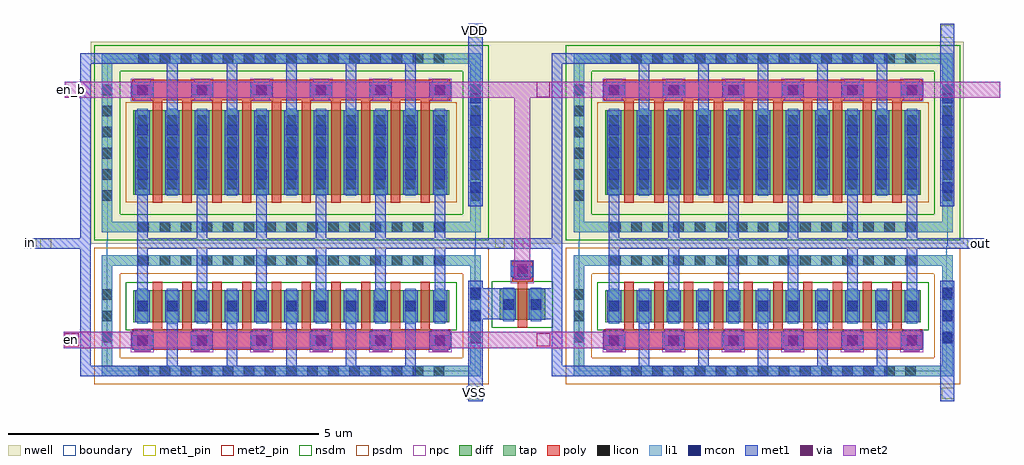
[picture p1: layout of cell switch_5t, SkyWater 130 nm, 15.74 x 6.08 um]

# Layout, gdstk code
from math import pi, radians
import gdstk
lib = gdstk.Library(unit=1e-6, precision=1e-09)
def R(c, l, rs):  # rectangles x0, y0, x1, y1
    for r in rs: c.add(gdstk.rectangle(r[:2], r[2:], *l))
def A(c, l, x, y, w, h, nx, ny, dx, dy):  # array of equal rectangles
    R(c, l, [(x+i*dx, y+j*dy, x+i*dx+w, y+j*dy+h) for i in range(nx) for j in range(ny)])
nwell = (64, 20)
diff = (65, 20)
tap = (65, 44)
poly = (66, 20)
licon = (66, 44)
li1 = (67, 20)
mcon = (67, 44)
met1_pin = (68, 16)
met1 = (68, 20)
via = (68, 44)
met2_pin = (69, 16)
met2 = (69, 20)
nsdm = (93, 44)
psdm = (94, 20)
npc = (95, 20)
boundary = (235, 4)

sky130_fd_pr__pfet_01v8_ = lib.new_cell('sky130_fd_pr__pfet_01v8_UNG2NQ')
R(sky130_fd_pr__pfet_01v8_, nwell, [(-3.23,-1.78,3.24,1.47)])
R(sky130_fd_pr__pfet_01v8_, diff, [(-2.54,-0.68,2.55,0.68)])
R(sky130_fd_pr__pfet_01v8_, tap, [(-3.05,-1.6,3.06,-1.43), (-3.05,-1.43,-2.88,1.12), (2.89,-1.43,3.06,1.12), (-3.05,1.12,3.06,1.29)])
A(sky130_fd_pr__pfet_01v8_, poly, -2.23, -0.84, 0.15, 1.65, 10, 1, 0.48, 0)
R(sky130_fd_pr__pfet_01v8_, poly, [(-2.56,-1.17,2.57,-0.84)])
A(sky130_fd_pr__pfet_01v8_, licon, -2.46, -1.6, 0.17, 0.17, 15, 2, 0.34, 2.72)
A(sky130_fd_pr__pfet_01v8_, licon, -3.05, -1.09, 0.17, 0.17, 1, 6, 0, 0.34)
A(sky130_fd_pr__pfet_01v8_, licon, -2.48, -1.09, 0.17, 0.17, 6, 1, 0.96, 0)
A(sky130_fd_pr__pfet_01v8_, licon, 2.89, -1.09, 0.17, 0.17, 1, 6, 0, 0.34)
A(sky130_fd_pr__pfet_01v8_, licon, -2.48, -0.595, 0.17, 0.17, 11, 4, 0.48, 0.34)
A(sky130_fd_pr__pfet_01v8_, li1, -2.56, -1.09, 0.33, 0.17, 6, 1, 0.96, 0)
A(sky130_fd_pr__pfet_01v8_, li1, -2.48, -0.7, 0.17, 1.4, 11, 1, 0.48, 0)
R(sky130_fd_pr__pfet_01v8_, li1, [(-3.05,-1.6,3.06,-1.43), (-3.05,-1.43,-2.88,1.12), (2.89,-1.43,3.06,1.12), (-3.05,1.12,3.06,1.29)])
A(sky130_fd_pr__pfet_01v8_, mcon, -2.48, -1.09, 0.17, 0.17, 6, 1, 0.96, 0)
A(sky130_fd_pr__pfet_01v8_, mcon, -2.48, -0.445, 0.17, 0.17, 11, 3, 0.48, 0.36)
A(sky130_fd_pr__pfet_01v8_, met1, -2.56, -1.13, 0.33, 0.25, 6, 1, 0.96, 0)
A(sky130_fd_pr__pfet_01v8_, met1, -2.51, -0.68, 0.23, 1.36, 11, 1, 0.48, 0)
R(sky130_fd_pr__pfet_01v8_, nsdm, [(-3.175,-1.725,3.185,-1.305), (-3.175,-1.305,-2.755,0.995), (2.765,-1.305,3.185,0.995), (-3.175,0.995,3.185,1.415)])
R(sky130_fd_pr__pfet_01v8_, psdm, [(-2.665,-0.805,2.675,0.805)])
A(sky130_fd_pr__pfet_01v8_, npc, -2.58, -1.19, 0.37, 0.37, 6, 1, 0.96, 0)
R(sky130_fd_pr__pfet_01v8_, boundary, [(-2.97,-1.51,2.97,1.51)])

sky130_fd_pr__nfet_01v8_ = lib.new_cell('sky130_fd_pr__nfet_01v8_6J4AMR')
R(sky130_fd_pr__nfet_01v8_, diff, [(-2.54,-0.26,2.55,0.26)])
R(sky130_fd_pr__nfet_01v8_, tap, [(-3.05,-1.13,3.06,-0.96), (-3.05,-0.96,-2.88,0.65), (2.89,-0.96,3.06,0.65), (-3.05,0.65,3.06,0.82)])
A(sky130_fd_pr__nfet_01v8_, poly, -2.23, -0.37, 0.15, 0.76, 10, 1, 0.48, 0)
R(sky130_fd_pr__nfet_01v8_, poly, [(-2.56,-0.7,2.57,-0.37)])
A(sky130_fd_pr__nfet_01v8_, licon, -2.46, -1.13, 0.17, 0.17, 15, 2, 0.34, 1.78)
A(sky130_fd_pr__nfet_01v8_, licon, -2.48, -0.64, 0.17, 0.17, 6, 1, 0.96, 0)
A(sky130_fd_pr__nfet_01v8_, licon, -3.05, -0.58, 0.17, 0.17, 1, 3, 0, 0.34)
A(sky130_fd_pr__nfet_01v8_, licon, 2.89, -0.58, 0.17, 0.17, 1, 3, 0, 0.34)
A(sky130_fd_pr__nfet_01v8_, licon, -2.48, -0.085, 0.17, 0.17, 11, 1, 0.48, 0)
A(sky130_fd_pr__nfet_01v8_, li1, -2.56, -0.64, 0.33, 0.17, 6, 1, 0.96, 0)
A(sky130_fd_pr__nfet_01v8_, li1, -2.48, -0.28, 0.17, 0.56, 11, 1, 0.48, 0)
R(sky130_fd_pr__nfet_01v8_, li1, [(-3.05,-1.13,3.06,-0.96), (-3.05,-0.96,-2.88,0.65), (2.89,-0.96,3.06,0.65), (-3.05,0.65,3.06,0.82)])
A(sky130_fd_pr__nfet_01v8_, mcon, -2.48, -0.64, 0.17, 0.17, 6, 1, 0.96, 0)
A(sky130_fd_pr__nfet_01v8_, mcon, -2.48, -0.085, 0.17, 0.17, 11, 1, 0.48, 0)
A(sky130_fd_pr__nfet_01v8_, met1, -2.56, -0.7, 0.33, 0.3, 6, 1, 0.96, 0)
A(sky130_fd_pr__nfet_01v8_, met1, -2.51, -0.26, 0.23, 0.52, 11, 1, 0.48, 0)
R(sky130_fd_pr__nfet_01v8_, nsdm, [(-2.665,-0.385,2.675,0.385)])
R(sky130_fd_pr__nfet_01v8_, psdm, [(-3.175,-1.255,3.185,-0.835), (-3.175,-0.835,-2.755,0.525), (2.765,-0.835,3.185,0.525), (-3.175,0.525,3.185,0.945)])
A(sky130_fd_pr__nfet_01v8_, npc, -2.58, -0.74, 0.37, 0.37, 6, 1, 0.96, 0)
R(sky130_fd_pr__nfet_01v8_, boundary, [(-2.97,-1.05,2.97,1.05)])

transmission_gate = lib.new_cell('transmission_gate')
R(transmission_gate, li1, [(5.855,0.405,6.025,1.405), (5.855,2.725,6.025,4.655)])
A(transmission_gate, mcon, 5.855, 0.46, 0.17, 0.17, 1, 3, 0, 0.36)
A(transmission_gate, mcon, 5.855, 2.885, 0.17, 0.17, 1, 5, 0, 0.36)
R(transmission_gate, met1_pin, [(5.85,-0.44,6.05,-0.26), (-1.08,1.98,-0.9,2.14), (6.26,2,6.4,2.15), (5.84,5.38,6.05,5.58)])
A(transmission_gate, met1, 0.965, 0.095, 0.17, 0.805, 5, 2, 0.96, 4.065)
A(transmission_gate, met1, 1.345, 0.38, 0.36, 0.26, 3, 1, 0.96, 0)
A(transmission_gate, met1, 0.485, 1.265, 0.17, 0.715, 6, 1, 0.96, 0)
A(transmission_gate, met1, 0.485, 2.15, 0.17, 0.89, 6, 1, 0.96, 0)
A(transmission_gate, met1, 2.31, 4.415, 0.36, 0.26, 4, 1, 0.96, 0)
R(transmission_gate, met1, [(5.825,-0.475,6.055,1.465), (-0.435,-0.075,4.975,0.095), (-0.435,0.095,-0.265,1.98), (4.23,0.375,4.59,0.635), (5.19,0.375,5.55,0.635), (0.39,0.38,0.75,0.64), (-1.08,1.98,-0.265,2.15), (0.485,1.98,6.415,2.15), (-0.435,2.15,-0.265,4.965), (5.825,2.665,6.055,5.605), (0.39,4.415,0.75,4.675), (1.355,4.415,1.715,4.675), (-0.435,4.965,4.975,5.135)])
A(transmission_gate, via, 1.45, 0.435, 0.15, 0.15, 3, 1, 0.96, 0)
A(transmission_gate, via, 2.415, 4.47, 0.15, 0.15, 4, 1, 0.96, 0)
R(transmission_gate, via, [(4.335,0.43,4.485,0.58), (5.295,0.43,5.445,0.58), (0.495,0.435,0.645,0.585), (0.495,4.47,0.645,4.62), (1.46,4.47,1.61,4.62)])
R(transmission_gate, met2_pin, [(-0.68,0.41,-0.46,0.62), (-0.68,4.42,-0.47,4.67)])
A(transmission_gate, met2, 1.395, 0.33, 0.26, 0.05, 3, 2, 0.96, 0.31)
A(transmission_gate, met2, 2.36, 4.365, 0.26, 0.05, 4, 2, 0.96, 0.31)
R(transmission_gate, met2, [(4.28,0.325,4.54,0.38), (5.24,0.325,5.5,0.38), (0.44,0.33,0.7,0.38), (-0.7,0.38,5.535,0.64), (0.44,0.64,0.7,0.69), (4.28,0.64,4.54,0.685), (5.24,0.64,5.5,0.685), (0.44,4.365,0.7,4.415), (1.405,4.365,1.665,4.415), (-0.68,4.415,6.79,4.675), (0.44,4.675,0.7,4.725), (1.405,4.675,1.665,4.725)])
transmission_gate.add(gdstk.Reference(sky130_fd_pr__pfet_01v8_, (2.975,3.535), rotation=pi))
transmission_gate.add(gdstk.Reference(sky130_fd_pr__nfet_01v8_, (2.965,1.055)))
transmission_gate.add(gdstk.Label('en_b', (-0.575,4.545), layer=69, texttype=16))
transmission_gate.add(gdstk.Label('out', (6.33,2.075), layer=68, texttype=16))
transmission_gate.add(gdstk.Label('VDD', (5.945,5.48), layer=68, texttype=16))
transmission_gate.add(gdstk.Label('VSS', (5.95,-0.35), layer=68, texttype=16))
transmission_gate.add(gdstk.Label('in', (-0.99,2.06), layer=68, texttype=16))
transmission_gate.add(gdstk.Label('en', (-0.57,0.515), layer=69, texttype=16))

c_sky130_fd_pr__nfet_01v8_ = lib.new_cell('sky130_fd_pr__nfet_01v8_E56BNL')
R(c_sky130_fd_pr__nfet_01v8_, diff, [(-0.36,-0.45,0.37,0.05)])
R(c_sky130_fd_pr__nfet_01v8_, poly, [(-0.07,-0.58,0.08,0.16), (-0.16,0.16,0.17,0.49)])
R(c_sky130_fd_pr__nfet_01v8_, licon, [(-0.3,-0.285,-0.13,-0.115), (0.14,-0.285,0.31,-0.115), (-0.08,0.24,0.09,0.41)])
R(c_sky130_fd_pr__nfet_01v8_, li1, [(-0.3,-0.47,-0.13,0.07), (0.14,-0.47,0.31,0.07), (-0.16,0.24,0.17,0.41)])
R(c_sky130_fd_pr__nfet_01v8_, mcon, [(-0.3,-0.285,-0.13,-0.115), (0.14,-0.285,0.31,-0.115), (-0.08,0.24,0.09,0.41)])
R(c_sky130_fd_pr__nfet_01v8_, met1, [(-0.33,-0.45,-0.1,0.05), (0.11,-0.45,0.34,0.05), (-0.14,0.21,0.15,0.44)])
R(c_sky130_fd_pr__nfet_01v8_, nsdm, [(-0.485,-0.575,0.495,0.175)])
R(c_sky130_fd_pr__nfet_01v8_, npc, [(-0.18,0.14,0.19,0.51)])

switch_5t = lib.new_cell('switch_5t')
R(switch_5t, nwell, [(7.135,2.34,9.01,5.59)])
R(switch_5t, met1_pin, [(6.87,-0.17,7.14,0.04), (15.02,2.27,15.28,2.42), (-0.26,2.28,-0.07,2.42), (6.9,5.66,7.11,5.88)])
R(switch_5t, met1, [(6.9,-0.18,7.13,-0.17), (14.505,-0.175,14.735,0.505), (6.87,-0.17,7.14,0.04), (6.9,0.04,7.13,0.25), (7.105,1.115,7.63,1.195), (8.015,1.115,8.325,1.195), (6.9,1.195,7.63,1.615), (7.9,1.195,8.415,1.615), (7.585,1.805,7.945,2.065), (-0.265,2.255,0.465,2.425), (7.28,2.255,8.26,2.425), (14.925,2.255,15.28,2.425), (6.9,5.36,7.13,5.81), (14.505,5.36,14.735,5.795), (6.9,5.81,7.11,5.88)])
R(switch_5t, via, [(7.69,1.86,7.84,2.01)])
R(switch_5t, met2_pin, [(0.39,0.7,0.6,0.89), (0.41,4.71,0.58,4.93)])
R(switch_5t, met2, [(6.315,0.655,8.315,0.915), (0.39,0.7,0.6,0.89), (7.635,1.755,7.895,4.69), (6.31,4.69,8.63,4.95), (0.41,4.71,0.58,4.93)])
switch_5t.add(gdstk.Reference(transmission_gate, (8.68,0.275)))
switch_5t.add(gdstk.Reference(transmission_gate, (1.075,0.275)))
switch_5t.add(gdstk.Reference(c_sky130_fd_pr__nfet_01v8_, (7.765,1.56)))
switch_5t.add(gdstk.Label('in', (-0.165,2.35), layer=68, texttype=16))
switch_5t.add(gdstk.Label('en', (0.495,0.795), layer=69, texttype=16))
switch_5t.add(gdstk.Label('en_b', (0.495,4.82), layer=69, texttype=16))
switch_5t.add(gdstk.Label('VDD', (7.005,5.77), layer=68, texttype=16))
switch_5t.add(gdstk.Label('VSS', (7.005,-0.065), layer=68, texttype=16))
switch_5t.add(gdstk.Label('out', (15.15,2.345), layer=68, texttype=16))

lib.write_gds('switch_5t.gds')
